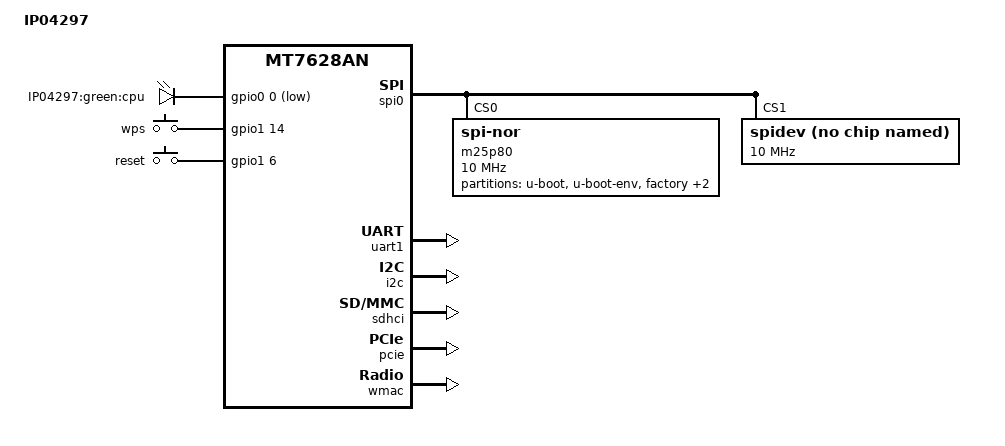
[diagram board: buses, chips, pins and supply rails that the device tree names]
/dts-v1/;

#include "mt7628an.dtsi"

#include <dt-bindings/input/input.h>

/ {
	compatible = "mediatek,ip04297", "mediatek,mt7628an-soc";
        model = "IP04297";

	chosen {
		bootargs = "console=ttyS0,57600";
	};

	gpio-leds {
		compatible = "gpio-leds";

        cpu {
			label = "IP04297:green:cpu";
			gpios = <&gpio0 0 GPIO_ACTIVE_LOW>;
		};
	};

	gpio-keys-polled {
		compatible = "gpio-keys-polled";
		#address-cells = <1>;
		#size-cells = <0>;
		poll-interval = <20>;

		wps {
			label = "wps";
			gpios = <&gpio1 14 GPIO_ACTIVE_HIGH>;
			linux,code = <KEY_RESTART>;
		};
		
		reset {
			label = "reset";
			gpios = <&gpio1 6 GPIO_ACTIVE_HIGH>;
			linux,code = <KEY_WPS_BUTTON>;
		};
	};
};

&spi0 {
	status = "okay";

	m25p80@0 {
		#address-cells = <1>;
		#size-cells = <1>;
		compatible = "jedec,spi-nor";
		reg = <0>;
		spi-max-frequency = <10000000>;
		m25p,chunked-io = <32>;

		partition@0 {
			label = "u-boot";
			reg = <0x0 0x30000>;
			read-only;
		};

		partition@30000 {
			label = "u-boot-env";
			reg = <0x30000 0x10000>;
			read-only;
		};

		factory: partition@40000 {
			label = "factory";
			reg = <0x40000 0x10000>;
			read-only;
		};

		partition@50000 {
			label = "firmware";
			reg = <0x50000 0xfa0000>;
		};

		partition@ff0000 {
			label = "user-data";
			reg = <0xff0000 0x10000>;
		};
	};

	spidev@1 {
		#address-cells = <1>;
		#size-cells = <1>;
		compatible = "linux,spidev";
		reg = <1>;
		spi-max-frequency = <10000000>;
	};
};

&uart1 {
	status = "okay";
};

&i2c {
	status = "okay";
};

&ethernet {
	mtd-mac-address = <&factory 0x4>;
};

&sdhci {
	status = "okay";
};

&pcie {
	status = "okay";
};

&wmac {
	status = "okay";
};


&pinctrl {
        state_default: pinctrl0 {
                gpio {
                        ralink,group = "i2c", "gpio", "wled_an", "wdt", "p1led_an", "uart1";
                        ralink,function = "gpio";
                };
        };
};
